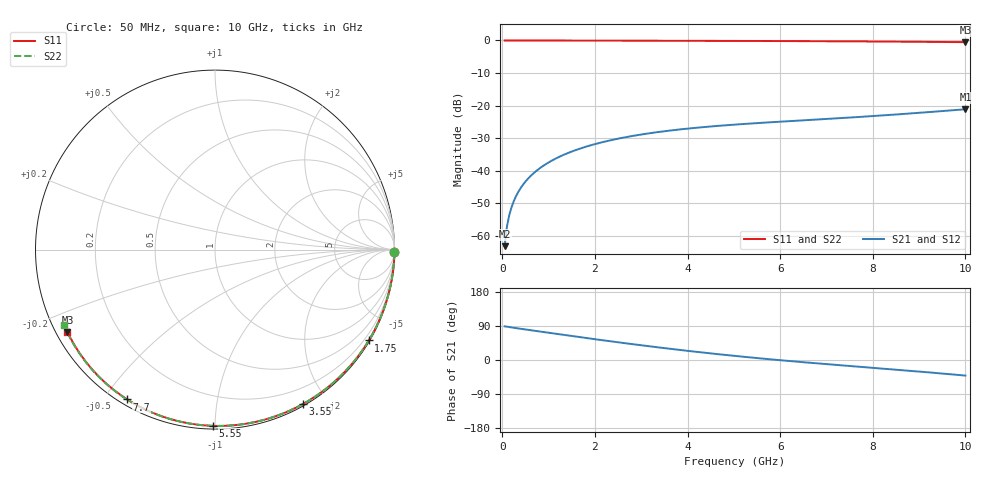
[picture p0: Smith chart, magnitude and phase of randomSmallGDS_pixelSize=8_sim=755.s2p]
! freq	dB(S11)	phase(S11)	dB(S12)	phase(S12)
!  dB(S21)	phase(S21)	dB(S22)	phase(S22)
!S-par simulation data
#  GHz  S  DB  R 50
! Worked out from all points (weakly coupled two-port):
!   200 points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, 50 MHz to 10 GHz, reference 50 ohm
!   highest |S21| = -21.14 dB at 10 GHz (marker M1); lowest = -63.2 dB at 50 MHz (marker M2)
!   lowest |S11| = -0.5 dB at 10 GHz (marker M3), VSWR 33.08, Z = 1.61 - j13 ohm
!   |S11| at or under -10 dB: nowhere
!   |S22| runs from -0.5 to 0.0 dB; largest |S21 - S12| = 0
!   S11 on the Smith chart (normalised r, x): 50 MHz: open; 1.75 GHz: 0.03, -3.66; 3.55 GHz: 0.02, -1.72; 5.55 GHz: 0.02, -0.99; 7.7 GHz: 0.02, -0.57; 10 GHz: 0.03, -0.26
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0.05  -0.00 -0.9  -63.21 88.9  -63.21 88.9  -0.00 -0.9
0.1  -0.00 -1.8  -57.20 87.9  -57.20 87.9  -0.00 -1.8
0.15  -0.00 -2.7  -53.70 86.9  -53.70 86.9  -0.00 -2.7
0.2  -0.00 -3.6  -51.22 85.9  -51.22 85.9  -0.00 -3.6
0.25  -0.00 -4.4  -49.31 84.9  -49.31 84.9  -0.00 -4.5
0.35  -0.00 -6.2  -46.42 83.1  -46.42 83.1  -0.00 -6.4
0.5  -0.01 -8.9  -43.37 80.5  -43.37 80.5  -0.01 -9.1
0.7  -0.01 -12.4  -40.50 77.1  -40.50 77.1  -0.01 -12.7
1  -0.02 -17.6  -37.48 71.9  -37.48 71.9  -0.02 -18.0
1.35  -0.03 -23.7  -34.99 65.9  -34.99 65.9  -0.03 -24.2
1.75  -0.04 -30.6  -32.89 59.1  -32.89 59.1  -0.04 -31.2
2.5  -0.06 -43.2  -30.18 46.7  -30.18 46.7  -0.06 -44.1
3.4  -0.08 -57.9  -28.08 32.8  -28.08 32.8  -0.08 -59.1
3.55  -0.09 -60.3  -27.81 30.6  -27.81 30.6  -0.09 -61.5
4.3  -0.11 -72.0  -26.68 20.1  -26.68 20.1  -0.11 -73.4
5.05  -0.14 -83.3  -25.83 10.4  -25.83 10.4  -0.14 -84.9
5.55  -0.16 -90.6  -25.35 4.5  -25.35 4.5  -0.16 -92.3
6.7  -0.22 -106.8  -24.38 -7.9  -24.38 -7.9  -0.22 -108.7
7.7  -0.29 -120.3  -23.51 -17.7  -23.51 -17.7  -0.29 -122.5
8.35  -0.34 -129.0  -22.90 -24.0  -22.90 -24.0  -0.35 -131.3
9.2  -0.43 -140.2  -22.02 -32.6  -22.02 -32.6  -0.43 -142.7
10  -0.53 -150.9  -21.14 -41.1  -21.14 -41.1  -0.53 -153.5
